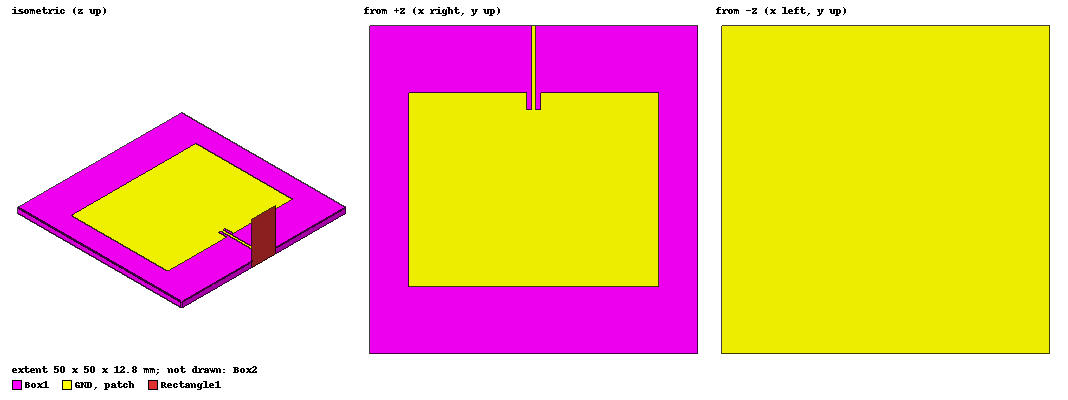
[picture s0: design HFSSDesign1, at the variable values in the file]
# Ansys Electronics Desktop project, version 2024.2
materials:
  vacuum: permittivity=1
  FR4_epoxy: permittivity=4.4 dielectric_loss_tangent=0.02

design HFSSDesign1 (HFSS, HFSS Modal Network, model units mm)
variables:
  w = 50mm
  l = 50mm
  patchlength = 29.443143mm
  patchwidth = 38.036289mm
  h = 1.6mm
  slotlength = 2.5mm
  slotwidth = 2mm
  linewidth = 0.70918453mm
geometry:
  GND = rectangle(corner=(-w/2, -l/2, 0mm), x_size=w, y_size=l)
  Box1 [FR4_epoxy] = box(corner=(-w/2, -l/2, 0mm), size=(l, w, h))
  patch = rectangle(corner=(-patchwidth/2, -patchlength/2, h), x_size=patchwidth, y_size=patchlength)
  slot = rectangle(corner=(-slotwidth/2, -slotlength+patchlength/2, h), x_size=slotwidth, y_size=slotlength)
  line = rectangle(corner=(-linewidth/2, 0mm, h), x_size=linewidth, y_size=l/2)
  patch.subtract(slot)
  patch.unite(line)
  Rectangle1 = rectangle(corner=(-linewidth*5, l/2, 0mm), z_size=8*h, x_size=linewidth*10)
  Box2 [vacuum] = box(corner=(-w/2, -l/2, 0mm), size=(w, l, 100*h))
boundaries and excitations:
  Rad1: Radiation Objects=Box2
  PerfE1: Perfect E Objects=[patch, GND]
  1: Wave Port Objects=Rectangle1 WavePortType=Modal NumModes=1 Modes{Mode1{IntLine{(0, 25, 0) -> (0, 25, 12.8)} CharImp=Zpi}}
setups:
  Setup1: HfssDriven Frequency=2.4GHz MaxDeltaS=0.02 MaximumPasses=6 MinimumPasses=1 MinimumConvergedPasses=1 PercentRefinement=30 BasisOrder=1 PortAccuracy=2 DrivenSolverType="Direct Solver"
    sweep Sweep: 1.2GHz to 3.6GHz, 401 points; Type=Fast SaveFields
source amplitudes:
  1:1: 1W 0deg
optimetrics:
  ParametricSetup1: Parametric Sim._Setups=[Setup1]
    sweep slotlength: LIN 2mm 6mm 0.5mm
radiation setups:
  Infinite Sphere1: Infinite Sphere Theta=-90deg..90deg step 90deg Phi=-180deg..180deg step 2deg
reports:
  S Parameter Plot 1: dB(S(1,1)) vs Freq on Setup1 : Sweep; markers m1 at 2.244GHz
  S Parameter Plot 2: dB(S(1,1)) vs Freq on Setup1 : Sweep [slotlength=2mm,2.5mm,3mm,3.5mm,4mm,4.5mm,5mm,5.5mm,6mm,9.25mm slotwidth=all]; markers m1 at 2.28GHz
  S Parameter Plot 3: dB(S(1,1)) vs Freq on Setup1 : Sweep [slotlength=2mm,2.5mm,3mm,3.5mm,4mm,4.5mm,5mm,5.5mm,6mm,9.25mm slotwidth=2mm,3mm]
